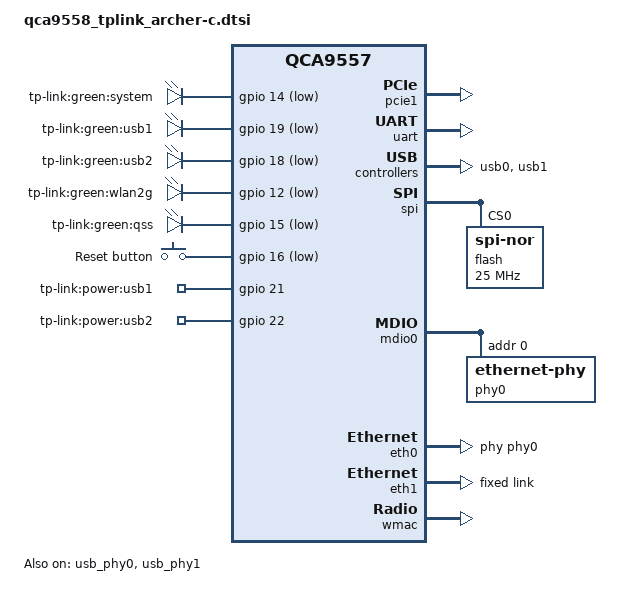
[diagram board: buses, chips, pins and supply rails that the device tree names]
// SPDX-License-Identifier: GPL-2.0-or-later OR MIT

#include <dt-bindings/gpio/gpio.h>
#include <dt-bindings/input/input.h>

#include "qca9557.dtsi"

/ {
	chosen {
		bootargs = "console=ttyS0,115200n8";
	};

	aliases {
		led-boot = &led_system;
		led-failsafe = &led_system;
		led-running = &led_system;
		led-upgrade = &led_system;
		label-mac-device = &eth1;
	};

	leds: leds {
		compatible = "gpio-leds";

		led_system: system {
			label = "tp-link:green:system";
			gpios = <&gpio 14 GPIO_ACTIVE_LOW>;
			default-state = "on";
		};

		usb1 {
			label = "tp-link:green:usb1";
			gpios = <&gpio 19 GPIO_ACTIVE_LOW>;
			trigger-sources = <&hub_port1>;
			linux,default-trigger = "usbport";
		};

		usb2 {
			label = "tp-link:green:usb2";
			gpios = <&gpio 18 GPIO_ACTIVE_LOW>;
			trigger-sources = <&hub_port0>;
			linux,default-trigger = "usbport";
		};

		wlan2g {
			label = "tp-link:green:wlan2g";
			gpios = <&gpio 12 GPIO_ACTIVE_LOW>;
			linux,default-trigger = "phy1tpt";
		};

		qss {
			label = "tp-link:green:qss";
			gpios = <&gpio 15 GPIO_ACTIVE_LOW>;
		};
	};

	keys: keys {
		compatible = "gpio-keys";

		reset {
			label = "Reset button";
			linux,code = <KEY_RESTART>;
			gpios = <&gpio 16 GPIO_ACTIVE_LOW>;
			debounce-interval = <60>;
		};
	};

	gpio-export {
		compatible = "gpio-export";

		gpio_usb1_power {
			gpio-export,name = "tp-link:power:usb1";
			gpio-export,output = <1>;
			gpios = <&gpio 21 GPIO_ACTIVE_HIGH>;
		};

		gpio_usb2_power {
			gpio-export,name = "tp-link:power:usb2";
			gpio-export,output = <1>;
			gpios = <&gpio 22 GPIO_ACTIVE_HIGH>;
		};
	};
};

&pcie1 {
	status = "okay";
};

&uart {
	status = "okay";
};

&gpio {
	status = "okay";
};

&usb_phy0 {
	status = "okay";
};

&usb0 {
	#address-cells = <1>;
	#size-cells = <0>;
	status = "okay";

	hub_port0: port@1 {
		reg = <1>;
		#trigger-source-cells = <0>;
	};
};

&usb_phy1 {
	status = "okay";
};

&usb1 {
	#address-cells = <1>;
	#size-cells = <0>;
	status = "okay";

	hub_port1: port@1 {
		reg = <1>;
		#trigger-source-cells = <0>;
	};
};

&spi {
	status = "okay";

	num-cs = <1>;

	flash@0 {
		compatible = "jedec,spi-nor";
		reg = <0>;
		spi-max-frequency = <25000000>;

		mtdparts: partitions {
			compatible = "fixed-partitions";
			#address-cells = <1>;
			#size-cells = <1>;
		};
	};
};

&mdio0 {
	status = "okay";

	phy0: ethernet-phy@0 {
		reg = <0>;

		qca,ar8327-initvals = <
			0x04 0x00080080 /* PORT0 PAD MODE CTRL */
			0x0c 0x07600000 /* PORT6 PAD MODE CTRL */
			0x50 0xc737c737 /* LED_CTRL0 */
			0x54 0x00000000 /* LED_CTRL1 */
			0x58 0x00000000 /* LED_CTRL2 */
			0x5c 0x0030c300 /* LED_CTRL3 */
			0x7c 0x0000007e /* PORT0_STATUS */
			0x94 0x0000007e /* PORT6 STATUS */
			>;
	};
};

&eth0 {
	status = "okay";

	mtd-mac-address = <&uboot 0x1fc00>;
	mtd-mac-address-increment = <1>;
	phy-handle = <&phy0>;
	pll-data = <0x56000000 0x00000101 0x00001616>;

	gmac-config {
		device = <&gmac>;
		rgmii-enabled = <1>;
	};
};

&eth1 {
	status = "okay";

	mtd-mac-address = <&uboot 0x1fc00>;
	pll-data = <0x03000101 0x00000101 0x00001616>;

	fixed-link {
		speed = <1000>;
		full-duplex;
	};
};

&wmac {
	status = "okay";

	mtd-cal-data = <&art 0x1000>;
	mtd-mac-address = <&uboot 0x1fc00>;
};
